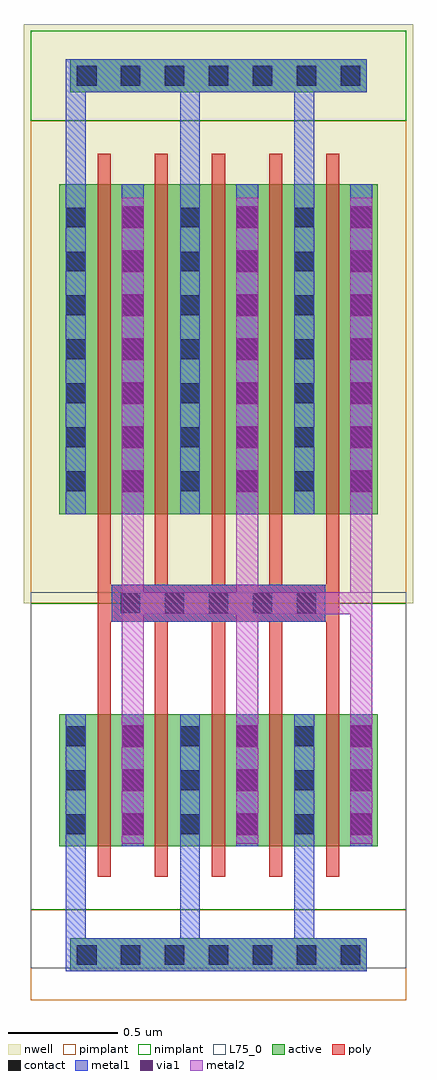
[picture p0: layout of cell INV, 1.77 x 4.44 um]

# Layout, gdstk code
import gdstk
lib = gdstk.Library(unit=1e-6, precision=1e-09)
def R(c, l, rs):  # rectangles x0, y0, x1, y1
    for r in rs: c.add(gdstk.rectangle(r[:2], r[2:], *l))
def A(c, l, x, y, w, h, nx, ny, dx, dy):  # array of equal rectangles
    R(c, l, [(x+i*dx, y+j*dy, x+i*dx+w, y+j*dy+h) for i in range(nx) for j in range(ny)])
nwell = (3, 0)
active = (6, 0)
poly = (17, 0)
pimplant = (25, 0)
nimplant = (26, 0)
contact = (30, 0)
metal1 = (31, 0)
metal2 = (32, 0)
via1 = (51, 0)
L75_0 = (75, 0)

pmosininv = lib.new_cell('PMOSInINV')
R(pmosininv, active, [(-0.725,-0.75,0.725,0.75)])
A(pmosininv, poly, -0.55, -0.89, 0.06, 1.78, 5, 1, 0.26, 0)
R(pmosininv, pimplant, [(-0.855,-1.04,0.855,1.04)])
A(pmosininv, contact, -0.695, -0.645, 0.09, 0.09, 6, 7, 0.26, 0.2)
A(pmosininv, metal1, -0.695, -0.75, 0.09, 1.5, 6, 1, 0.26, 0)

nmosininv = lib.new_cell('NMOSInINV')
R(nmosininv, active, [(-0.725,-0.3,0.725,0.3)])
A(nmosininv, poly, -0.55, -0.44, 0.06, 0.88, 5, 1, 0.26, 0)
R(nmosininv, nimplant, [(-0.855,-0.59,0.855,0.59)])
A(nmosininv, contact, -0.695, -0.245, 0.09, 0.09, 6, 3, 0.26, 0.2)
A(nmosininv, metal1, -0.695, -0.3, 0.09, 0.6, 6, 1, 0.26, 0)
R(nmosininv, L75_0, [(-0.855,-0.855,0.855,0.855)])

m2_m1_cdns_572756093850 = lib.new_cell('M2_M1_CDNS_572756093850')
R(m2_m1_cdns_572756093850, metal1, [(-0.05,-0.29,0.05,0.29)])
R(m2_m1_cdns_572756093850, metal2, [(-0.05,-0.29,0.05,0.29)])
A(m2_m1_cdns_572756093850, via1, -0.05, -0.25, 0.1, 0.1, 1, 3, 0, 0.2)

m1_nod_cdns_572756093851 = lib.new_cell('M1_NOD_CDNS_572756093851')
R(m1_nod_cdns_572756093851, active, [(-0.675,-0.075,0.675,0.075)])
R(m1_nod_cdns_572756093851, nimplant, [(-0.805,-0.205,0.805,0.205)])
A(m1_nod_cdns_572756093851, contact, -0.645, -0.045, 0.09, 0.09, 7, 1, 0.2, 0)
R(m1_nod_cdns_572756093851, metal1, [(-0.675,-0.075,0.675,0.075)])

m2_m1_cdns_572756093852 = lib.new_cell('M2_M1_CDNS_572756093852')
R(m2_m1_cdns_572756093852, metal1, [(-0.05,-0.69,0.05,0.69)])
R(m2_m1_cdns_572756093852, metal2, [(-0.05,-0.69,0.05,0.69)])
A(m2_m1_cdns_572756093852, via1, -0.05, -0.65, 0.1, 0.1, 1, 7, 0, 0.2)

m1_po_cdns_572756093853 = lib.new_cell('M1_PO_CDNS_572756093853')
R(m1_po_cdns_572756093853, poly, [(-0.485,-0.085,0.485,0.085)])
A(m1_po_cdns_572756093853, contact, -0.445, -0.045, 0.09, 0.09, 5, 1, 0.2, 0)
R(m1_po_cdns_572756093853, metal1, [(-0.485,-0.085,0.485,0.085)])

m1_pod_cdns_572756093854 = lib.new_cell('M1_POD_CDNS_572756093854')
R(m1_pod_cdns_572756093854, active, [(-0.675,-0.075,0.675,0.075)])
R(m1_pod_cdns_572756093854, pimplant, [(-0.805,-0.205,0.805,0.205)])
A(m1_pod_cdns_572756093854, contact, -0.645, -0.045, 0.09, 0.09, 7, 1, 0.2, 0)
R(m1_pod_cdns_572756093854, metal1, [(-0.675,-0.075,0.675,0.075)])

inv = lib.new_cell('INV')
R(inv, nwell, [(-0.885,1.6,0.885,4.235)])
R(inv, poly, [(-0.52,1.515,0.52,1.685)])
R(inv, pimplant, [(-0.855,-0.205,0.855,0.205), (-0.855,1.6,0.855,3.795)])
R(inv, nimplant, [(-0.855,0.205,0.855,1.6), (-0.855,3.795,0.855,4.205)])
A(inv, metal1, -0.44, 0.495, 0.1, 0.6, 3, 1, 0.52, 0)
A(inv, metal1, -0.44, 2.005, 0.1, 1.5, 3, 1, 0.52, 0)
inv.add(gdstk.FlexPath([(0.39,2.755),(0.39,4.075)], 0.09, ends="flush", simple_path=True, layer=31, datatype=0))  # metal1
inv.add(gdstk.FlexPath([(-0.13,2.755),(-0.13,4.075)], 0.09, ends="flush", simple_path=True, layer=31, datatype=0))  # metal1
inv.add(gdstk.FlexPath([(-0.65,2.755),(-0.65,4.075)], 0.09, ends="flush", simple_path=True, layer=31, datatype=0))  # metal1
inv.add(gdstk.FlexPath([(0.39,0.795),(0.39,-0.075)], 0.09, ends="flush", simple_path=True, layer=31, datatype=0))  # metal1
inv.add(gdstk.FlexPath([(-0.13,0.795),(-0.13,-0.075)], 0.09, ends="flush", simple_path=True, layer=31, datatype=0))  # metal1
inv.add(gdstk.FlexPath([(-0.65,0.795),(-0.65,-0.075)], 0.09, ends="flush", simple_path=True, layer=31, datatype=0))  # metal1
inv.add(gdstk.FlexPath([(0.65,2.755),(0.65,0.795)], 0.1, ends="flush", simple_path=True, layer=32, datatype=0))  # metal2
inv.add(gdstk.FlexPath([(0.13,2.755),(0.13,0.795)], 0.1, ends="flush", simple_path=True, layer=32, datatype=0))  # metal2
inv.add(gdstk.FlexPath([(-0.39,2.755),(-0.39,0.795)], 0.1, ends="flush", simple_path=True, layer=32, datatype=0))  # metal2
inv.add(gdstk.FlexPath([(-0.39,1.6),(0.65,1.6)], 0.1, ends="flush", simple_path=True, layer=32, datatype=0))  # metal2
inv.add(gdstk.FlexPath([(0.52,0.795),(0.52,2.755)], 0.06, ends="flush", simple_path=True, layer=17, datatype=0))  # poly
inv.add(gdstk.FlexPath([(0.26,0.795),(0.26,2.755)], 0.06, ends="flush", simple_path=True, layer=17, datatype=0))  # poly
inv.add(gdstk.FlexPath([(0,0.795),(0,2.755)], 0.06, ends="flush", simple_path=True, layer=17, datatype=0))  # poly
inv.add(gdstk.FlexPath([(-0.26,0.795),(-0.26,2.755)], 0.06, ends="flush", simple_path=True, layer=17, datatype=0))  # poly
inv.add(gdstk.FlexPath([(-0.52,0.795),(-0.52,2.755)], 0.06, ends="flush", simple_path=True, layer=17, datatype=0))  # poly
inv.add(gdstk.Reference(pmosininv, (0,2.755)))
inv.add(gdstk.Reference(nmosininv, (0,0.795)))
inv.add(gdstk.Reference(m2_m1_cdns_572756093850, (0.65,0.795)))
inv.add(gdstk.Reference(m2_m1_cdns_572756093850, (0.13,0.795)))
inv.add(gdstk.Reference(m2_m1_cdns_572756093850, (-0.39,0.795)))
inv.add(gdstk.Reference(m1_nod_cdns_572756093851, (0,4)))
inv.add(gdstk.Reference(m2_m1_cdns_572756093852, (0.65,2.755)))
inv.add(gdstk.Reference(m2_m1_cdns_572756093852, (0.13,2.755)))
inv.add(gdstk.Reference(m2_m1_cdns_572756093852, (-0.39,2.755)))
inv.add(gdstk.Reference(m1_po_cdns_572756093853, (0,1.6)))
inv.add(gdstk.Reference(m1_pod_cdns_572756093854, (0,0)))

lib.write_gds('INV.gds')
